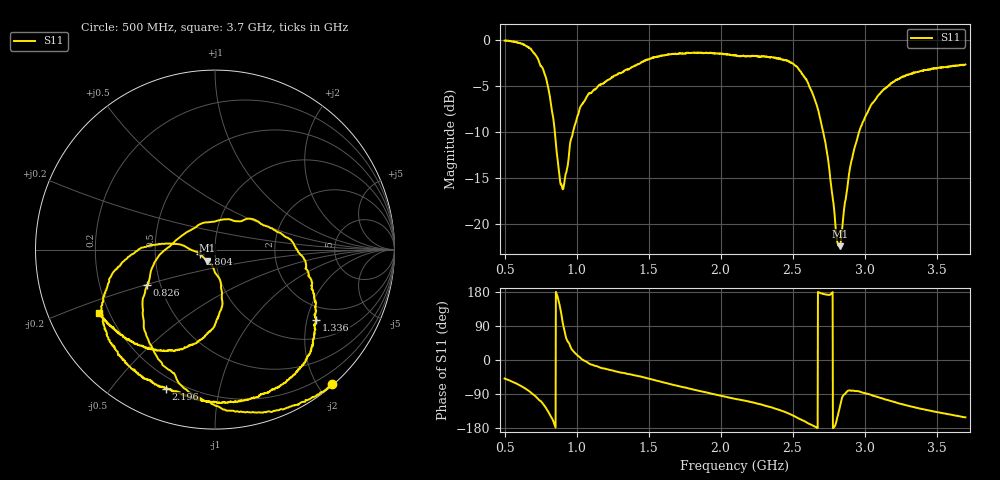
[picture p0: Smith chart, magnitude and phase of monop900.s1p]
!Agilent Technologies,E8363A,US42130174,A.06.04.32
!Agilent E8363A: A.06.04.32
!Date: Tuesday, October 02, 2012 17:21:22
!Correction: S22(Full 1 Port(2))
!S1P File: Measurement: S22:
# Hz S  RI  R 50
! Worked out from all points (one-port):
!   1601 points, 500 MHz to 3.7 GHz, reference 50 ohm
!   lowest |S11| = -22.4 dB at 2.828 GHz (marker M1), VSWR 1.16, Z = 45.5 - j5.69 ohm
!   |S11| at or under -10 dB: 848.9 MHz to 974.9 MHz (126 MHz wide, 13.8 % of centre); 2.713 GHz to 2.96 GHz (247.5 MHz wide, 8.73 % of centre)
!   S11 on the Smith chart (normalised r, x): 500 MHz: 0.01, -2.20; 826 MHz: 0.42, -0.20; 1.336 GHz: 1.53, -2.28; 2.196 GHz: 0.15, -0.70; 2.804 GHz: 0.85, -0.05; 3.7 GHz: 0.16, -0.25
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5e8  0.6541 -0.7509
5.96e8  0.4085 -0.8803
6.94e8  0.00621 -0.8714
7.68e8  -0.3074 -0.619
8.26e8  -0.3779 -0.1973
8.62e8  -0.2436 0.0254
9e8  -0.0416 0.1518
9.68e8  0.2657 0.1381
1.036e9  0.4455 0.0164
1.3e9  0.5606 -0.3587
1.336e9  0.5638 -0.3924
1.492e9  0.5233 -0.587
1.7e9  0.3169 -0.7825
1.914e9  0.0486 -0.8509
2.1e9  -0.1793 -0.8087
2.196e9  -0.2722 -0.774
2.366e9  -0.4802 -0.6484
2.5e9  -0.6223 -0.4155
2.594e9  -0.5888 -0.1692
2.678e9  -0.4165 0.00584
2.74e9  -0.2388 0.0313
2.804e9  -0.0831 -0.0266
2.828e9  -0.0436 -0.0622
2.9e9  0.0331 -0.2023
2.968e9  0.0365 -0.3257
3.048e9  -0.02 -0.4478
3.3e9  -0.3313 -0.5606
3.7e9  -0.6473 -0.3543
